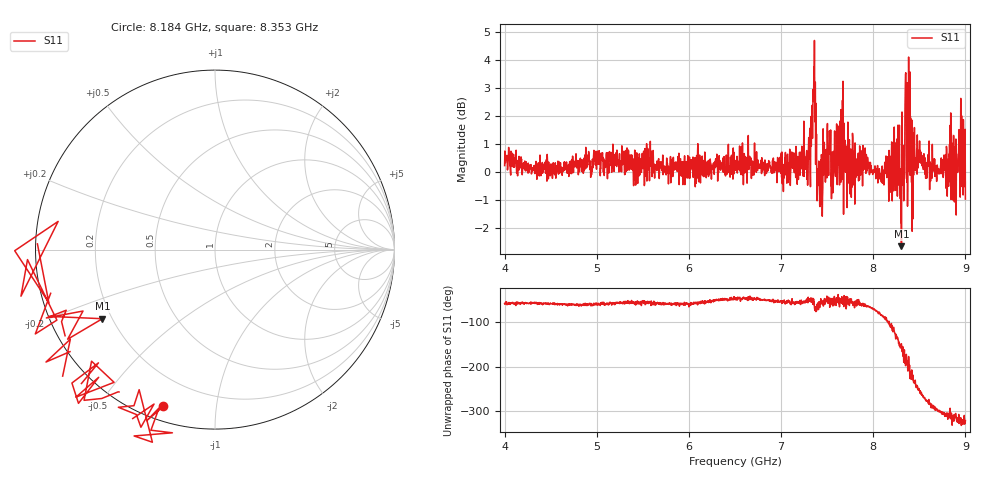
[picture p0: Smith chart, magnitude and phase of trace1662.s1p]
! Created with skrf 1.8.0 (http://scikit-rf.org).
# Hz S RI R 50.0
!freq ReS11 ImS11
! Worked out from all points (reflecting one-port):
!   1601 points, 4 GHz to 9 GHz, reference 50 ohm
!   lowest |S11| = -2.7 dB at 8.306 GHz (marker M1), VSWR 6.59, Z = 8.18 - j13.8 ohm
!   phase of S11 starts at -58 deg and turns -263 deg over the sweep
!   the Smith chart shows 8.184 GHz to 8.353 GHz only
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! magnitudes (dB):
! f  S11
! 4 GHz  0.2
! 4.625 GHz  -0.1
! 5.25 GHz  0.3
! 5.875 GHz  0.2
! 6.5 GHz  0.3
! 7.125 GHz  0.2
! 7.294 GHz  0.3
! 7.347 GHz  3.0
! 7.362 GHz  4.7
! 7.412 GHz  0.1
! 7.512 GHz  0.6
! 7.566 GHz  -0.5
! 7.65 GHz  2.2
! 7.75 GHz  0.4
! 7.878 GHz  0.5
! 8.097 GHz  0.2
! 8.262 GHz  -0.9
! 8.306 GHz  -2.7
! 8.316 GHz  -0.5
! 8.334 GHz  1.0
! 8.375 GHz  0.5
! 8.441 GHz  1.3
! 8.503 GHz  1.1
! 8.7 GHz  0.1
! 8.834 GHz  1.7
! 8.888 GHz  0.2
! 8.956 GHz  -0.4
! 9 GHz  -1.0
